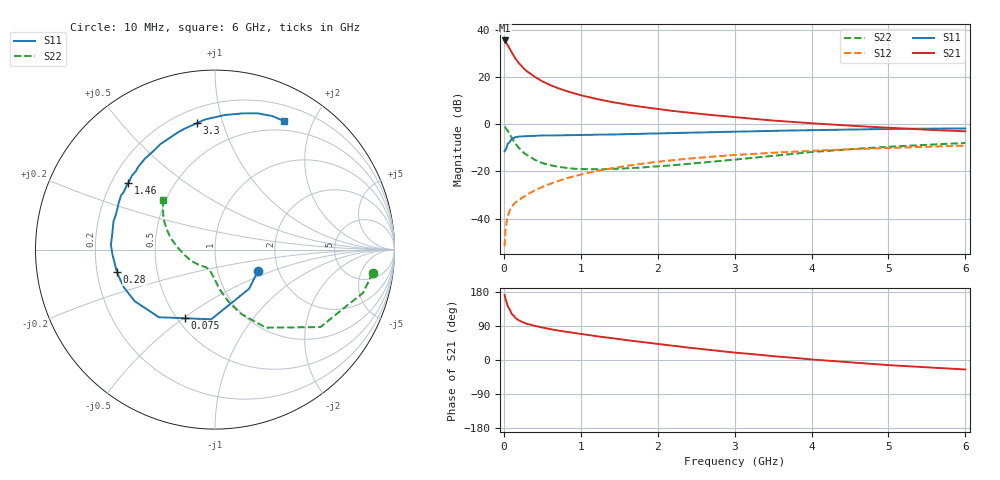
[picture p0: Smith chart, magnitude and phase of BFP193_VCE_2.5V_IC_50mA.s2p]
! Infineon Technologies  Discrete & RF Semiconductors
! BFP193
! VCE = 2.5 V,  IC =  50 mA
! Common Emitter S-Parameters:  Jan 2016
# GHz  S  MA  R  50
!  f  S11  S21  S12  S22
! GHz  MAG  ANG  MAG  ANG  MAG  ANG  MAG  ANG
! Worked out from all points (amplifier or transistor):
!   210 points, 10 MHz to 6 GHz, reference 50 ohm
!   highest |S21| = 35.5 dB at 10 MHz (marker M1)
!   |S21| within 3 dB of that: start of sweep to 67.42 MHz
!   unconditionally stable (mu >= 1): 485.6 MHz to 3.906 GHz
!   at 185 MHz: K = 0.72, MSG = 29.4 dB, |S12| = -32.4 dB
!   at 1.52 GHz: K = 1.08, MAG = 11.7 dB, |S12| = -18.1 dB
!   at 6 GHz: K = 0.95, MSG = 3.0 dB, |S12| = -9.1 dB
!   S11 on the Smith chart (normalised r, x): 10 MHz: 1.57, -0.40; 75 MHz: 0.55, -0.51; 280 MHz: 0.29, -0.10; 1.46 GHz: 0.27, +0.32; 3.3 GHz: 0.29, +0.83; 6 GHz: 0.38, +1.61
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0.01  0.2669 -26.2  59.78 171.5  0.0026 83.0  0.8883 -8.3
0.02  0.2893 -48.9  57.17 162.2  0.0054 75.2  0.8599 -16.2
0.05  0.389 -93.1  47.79 142.5  0.0113 65.8  0.7289 -36.3
0.075  0.4174 -113.6  40.09 134.1  0.0145 61.0  0.6144 -44.9
0.1  0.4897 -129.7  33.63 122.2  0.0177 58.0  0.5194 -56.9
0.15  0.5317 -147.3  24.72 110.8  0.0219 55.7  0.3878 -67.7
0.2  0.5495 -157.4  19.37 103.9  0.0249 56.0  0.3095 -74.6
0.24  0.5548 -163.0  16.45 100.1  0.0278 57.5  0.2663 -78.4
0.28  0.5593 -167.2  14.24 96.9  0.0305 59.4  0.2357 -81.7
0.3  0.5615 -169.0  13.27 95.4  0.0318 60.3  0.2226 -83.3
0.4  0.5715 -177.0  10.13 90.1  0.0394 62.4  0.177 -88.8
0.5  0.5806 177.4  8.119 85.5  0.0467 64.0  0.1504 -93.4
0.6  0.5785 172.4  6.798 81.5  0.0543 64.8  0.1358 -97.6
0.7  0.5813 168.2  5.853 77.8  0.0622 65.2  0.1256 -101.0
1.02  0.5917 156.4  4.052 68.1  0.0872 63.5  0.1121 -111.0
1.46  0.6091 142.6  2.861 56.2  0.1205 59.2  0.1139 -124.3
2.02  0.6401 127.1  2.081 42.0  0.1615 52.1  0.1285 -142.3
3.1  0.7001 101.9  1.364 17.9  0.2278 37.9  0.1844 -175.3
3.3  0.7121 98.1  1.279 14.2  0.2382 35.4  0.1985 179.6
4.1  0.755 84.4  1.025 0.0  0.2779 25.7  0.2647 163.1
5.1  0.7972 71.6  0.83 -14.6  0.318 14.5  0.3397 147.7
6  0.8131 61.8  0.709 -25.0  0.352 4.8  0.4009 135.9
